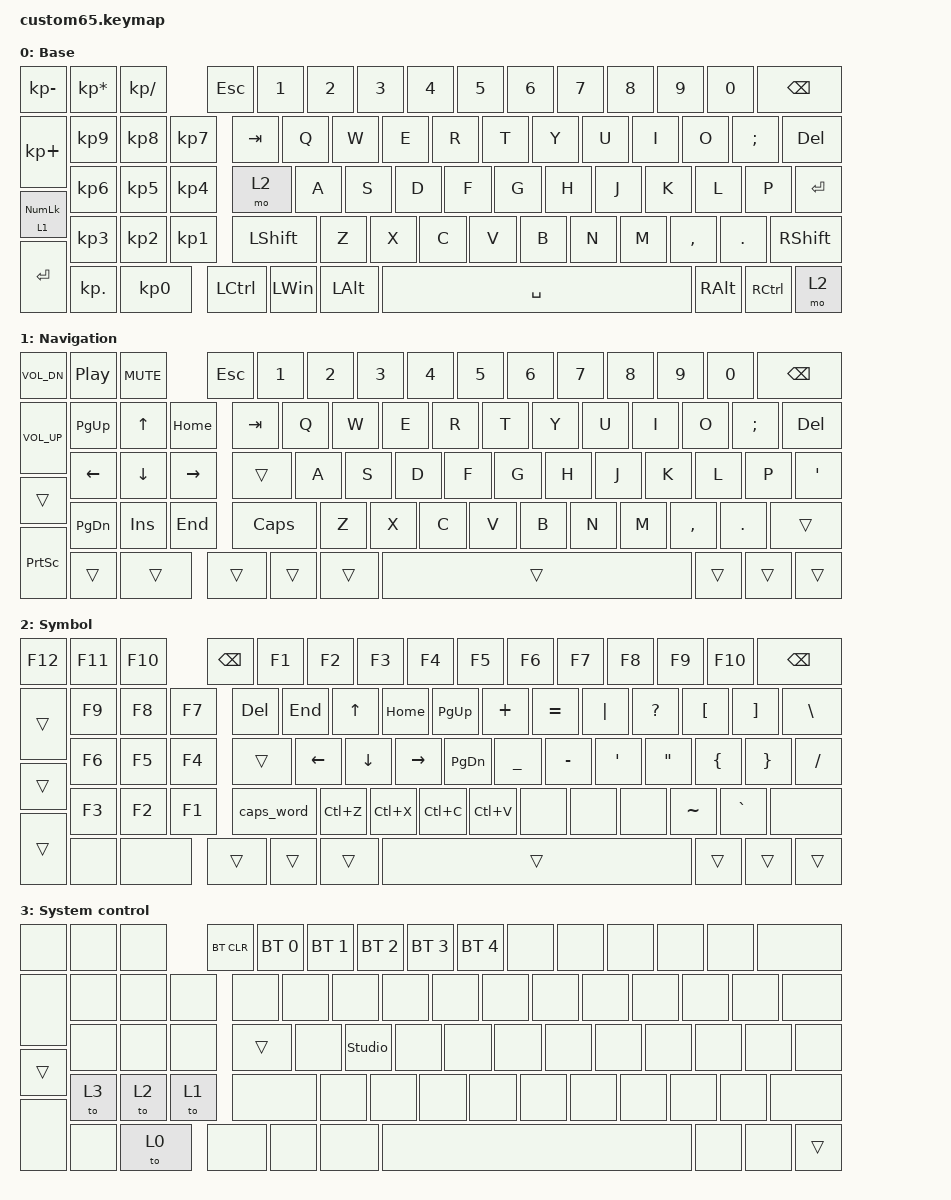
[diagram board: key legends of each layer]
#include <behaviors.dtsi>
#include <dt-bindings/zmk/bt.h>
#include <dt-bindings/zmk/keys.h>
#include <dt-bindings/zmk/rgb.h>

/ {

    conditional_layers {
        compatible = "zmk,conditional-layers";
        tri_layer {
            if-layers = <1 2>;
            then-layer = <3>;
        };
    };

    keymap {
        compatible = "zmk,keymap";

        def {
            display-name = "Base";
            bindings = <
&kp KP_MINUS      &kp KP_MULTIPLY  &kp KP_DIVIDE                      &kp ESCAPE      &kp N1          &kp N2            &kp N3          &kp N4        &kp N5        &kp N6         &kp N7             &kp N8           &kp N9               &kp N0                 &kp BACKSPACE
&kp KP_PLUS       &kp KP_N9        &kp KP_N8        &kp KP_N7         &kp TAB         &kp Q           &kp W             &kp E           &kp R         &kp T         &kp Y          &kp U              &kp I            &kp O                &kp SEMICOLON          &kp DELETE
&lt 1 KP_NUM      &kp KP_N6        &kp KP_N5        &kp KP_N4         &mo 2           &kp A           &kp S             &kp D           &kp F         &kp G         &kp H          &kp J              &kp K            &kp L                &kp P                  &kp ENTER
&kp ENTER         &kp KP_N3        &kp KP_N2        &kp KP_N1         &kp LSHFT       &kp Z           &kp X             &kp C           &kp V         &kp B         &kp N          &kp M              &kp COMMA        &kp PERIOD           &kp RSHFT
                                                                      &kp KP_DOT      &kp KP_N0       &kp LCTRL         &kp LWIN        &kp LALT      &kp SPACE     &kp RALT       &kp RCTRL          &mo 2
            >;
        };

        nav {
            display-name = "Navigation";
            bindings = < 
&kp C_VOL_DN      &kp C_PP         &kp C_MUTE                         &kp ESCAPE      &kp N1          &kp N2            &kp N3          &kp N4        &kp N5        &kp N6         &kp N7             &kp N8           &kp N9                &kp N0                &kp BACKSPACE
&kp C_VOL_UP      &kp PAGE_UP      &kp UP           &kp HOME          &kp TAB         &kp Q           &kp W             &kp E           &kp R         &kp T         &kp Y          &kp U              &kp I            &kp O                 &kp SEMICOLON         &kp DELETE
&trans            &kp LEFT         &kp DOWN         &kp RIGHT         &trans          &kp A           &kp S             &kp D           &kp F         &kp G         &kp H          &kp J              &kp K            &kp L                 &kp P                 &kp SINGLE_QUOTE
&kp PSCRN         &kp PAGE_DOWN    &kp INSERT       &kp END           &kp CAPSLOCK    &kp Z           &kp X             &kp C           &kp V         &kp B         &kp N          &kp M              &kp COMMA        &kp PERIOD            &trans
                                                                      &trans          &trans          &trans            &trans          &trans        &trans        &trans         &trans             &trans
            >;
        };

        sym {
            display-name = "Symbol";
            bindings = <
&kp F12           &kp F11          &kp F10                            &kp BSPC        &kp F1           &kp F2           &kp F3          &kp F4        &kp F5        &kp F6         &kp F7            &kp F8            &kp F9                &kp F10               &kp BACKSPACE
&trans            &kp F9           &kp F8           &kp F7            &kp DEL         &kp END          &kp UP           &kp HOME        &kp PAGE_UP   &kp PLUS      &kp EQUAL      &kp PIPE          &kp QUESTION      &kp LEFT_BRACKET      &kp RIGHT_BRACKET     &kp BACKSLASH
&trans            &kp F6           &kp F5           &kp F4            &trans          &kp LEFT         &kp DOWN         &kp RIGHT       &kp PAGE_DOWN &kp UNDER     &kp MINUS      &kp SINGLE_QUOTE  &kp DOUBLE_QUOTES &kp LEFT_BRACE        &kp RIGHT_BRACE       &kp SLASH
&trans            &kp F3           &kp F2           &kp F1            &caps_word      &kp LC(Z)        &kp LC(X)        &kp LC(C)       &kp LC(V)     &none         &none          &none             &kp TILDE         &kp GRAVE             &none
                                                                      &none           &none            &trans           &trans          &trans        &trans        &trans         &trans            &trans
            >;
        };

        sys {
            display-name = "System control";
            bindings = <
&none             &none            &none                              &bt BT_CLR      &bt BT_SEL 0     &bt BT_SEL 1     &bt BT_SEL 2    &bt BT_SEL 3  &bt BT_SEL 4  &none          &none             &none             &none                 &none                 &none
&none             &none            &none            &none             &none           &none            &none            &none           &none         &none         &none          &none             &none             &none                 &none                 &none
&trans            &none            &none            &none             &trans          &none            &studio_unlock   &none           &none         &none         &none          &none             &none             &none                 &none                 &none
&none             &to 3            &to 2            &to 1             &none           &none            &none            &none           &none         &none         &none          &none             &none             &none                 &none
                                                                      &none           &to 0            &none            &none           &none         &none         &none          &none             &trans
            >;
        };
    };
};
